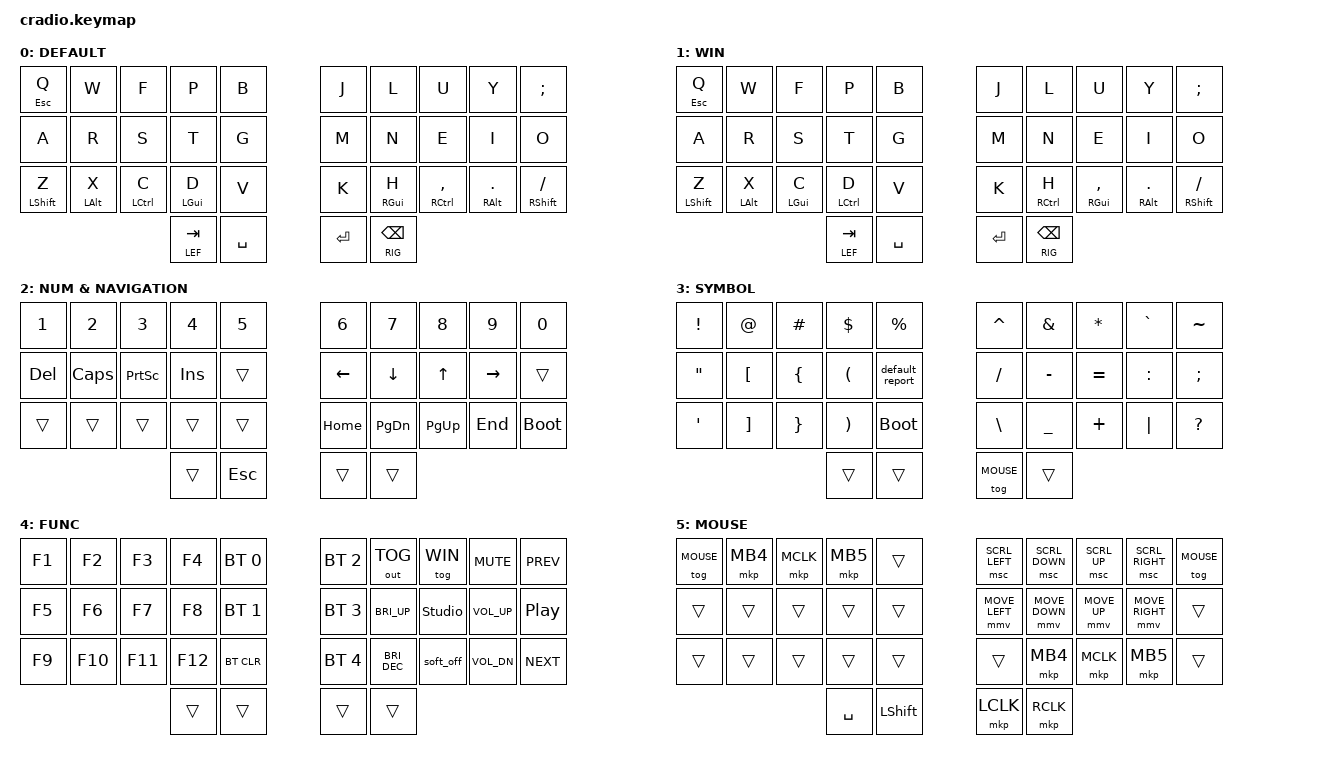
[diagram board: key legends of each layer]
// Copyright (c) 2022 The ZMK Contributors
// SPDX-License-Identifier: MIT

#define ZMK_POINTING_DEFAULT_MOVE_VAL 2500  // 600
#define ZMK_POINTING_DEFAULT_SCRL_VAL 20    // 10

#include <behaviors.dtsi>
#include "behaviors/character_map.dtsi"
#include "behaviors/send_string.dtsi"
#include "behaviors/report.dtsi"
#include <dt-bindings/zmk/bt.h>
#include <dt-bindings/zmk/keys.h>
#include <dt-bindings/zmk/outputs.h>
#include <dt-bindings/zmk/pointing.h>

#define MAC 0
#define WIN 1
#define RIG 2
#define LEF 3
#define TRI 4
#define MOUSE 5


// https://zmk.dev/docs/development/hardware-integration/soft-off-setup?advanced-methods=wakeup&kscan-type=dkscan
/ {
    keys {
        compatible = "gpio-keys";
        soft_off_gpio_key: soft_off_gpio_key {
            gpios = <&gpio1 6 (GPIO_ACTIVE_LOW | GPIO_PULL_UP)>;
        };
    };
    wakeup_scan: wakeup_scan {
        compatible = "zmk,kscan-gpio-direct";
        input-keys = <&soft_off_gpio_key>;
        wakeup-source;
    };
    side_band_behavior_triggers: side_band_behavior_triggers {
        compatible = "zmk,kscan-sideband-behaviors";
        kscan = <&wakeup_scan>;
        auto-enable;
        wakeup-source;
    };
    soft_off_wakers {
        compatible = "zmk,soft-off-wakeup-sources";
        wakeup-sources = <&wakeup_scan>;
    };
};

/ {
    vbatt: vbatt {
        compatible = "zmk,battery-nrf-vddh";
    };
    chosen {
        zmk,charmap = &charmap_us;
        zmk,battery = &vbatt;
    };
    behaviors {
        hml: hold_tap_left {
            display-name = "timeless_hml";
            compatible = "zmk,behavior-hold-tap";
            #binding-cells = <2>;
            flavor = "balanced";
            require-prior-idle-ms = <150>;
            tapping-term-ms = <280>;
            quick-tap-ms = <175>;
            bindings = <&kp>, <&kp>;
            hold-trigger-key-positions = <
                5 6 7 8 9
                15 16 17 18 19
                25 26 27 28 29
                30 31 32 33
            >;
            hold-trigger-on-release;
        };
        hmr: hold_tap_right {
            display-name = "timeless_hmr";
            compatible = "zmk,behavior-hold-tap";
            #binding-cells = <2>;
            flavor = "balanced";
            require-prior-idle-ms = <150>;
            tapping-term-ms = <280>;
            quick-tap-ms = <175>;
            bindings = <&kp>, <&kp>;
            hold-trigger-key-positions = <
                0 1 2 3 4
                10 11 12 13 14
                20 21 22 23 24
                30 31 32 33
            >;
            hold-trigger-on-release;
        };
        mmv {
            acceleration-exponent = <1>;      // 1
            time-to-max-speed-ms = <300>;    // 40
            delay-ms = <0>;                   // 0
        };
        msc {
            acceleration-exponent = <0>;      // 0
            time-to-max-speed-ms = <40>;      // 500
            delay-ms = <0>;                   // 10
        };
    };

    conditional_layers {
        compatible = "zmk,conditional-layers";

        tri_layer {
            if-layers = <RIG LEF>;
            then-layer = <TRI>;
        };
    };

    keymap {
        compatible = "zmk,keymap";

        default_layer {
            display-name = "DEFAULT";
            bindings = <
            &hml ESC Q     &kp W          &kp F          &kp P          &kp B         &kp J      &kp L           &kp U           &kp Y         &kp SEMI
            &kp A          &kp R          &kp S          &kp T          &kp G         &kp M      &kp N           &kp E           &kp I         &kp O
            &hml LSHIFT Z  &hml LALT X    &hml LCTRL C   &hml LGUI D    &kp V         &kp K      &hmr RGUI H     &hmr RCTRL COMMA &hmr RALT DOT &hmr RSHIFT FSLH
            &lt LEF TAB     &kp SPACE      &kp ENTER      &lt RIG BSPC
            >;
        };

        windows_layer {
            display-name = "WIN";
            bindings = <
            &hml ESC Q     &kp W         &kp F         &kp P          &kp B         &kp J      &kp L          &kp U          &kp Y         &kp SEMI
            &kp A          &kp R         &kp S         &kp T          &kp G         &kp M      &kp N          &kp E          &kp I         &kp O
            &hml LSHIFT Z  &hml LALT X   &hml LGUI C   &hml LCTRL D   &kp V         &kp K      &hmr RCTRL H   &hmr RGUI COMMA &hmr RALT DOT &hmr RSHIFT FSLH
            &lt LEF TAB     &kp SPACE     &kp ENTER     &lt RIG BSPC
            >;
        };

        right_layer {
            display-name = "NUM & NAVIGATION";
            bindings = <
            &kp N1   &kp N2    &kp N3     &kp N4   &kp N5     &kp N6  &kp N7    &kp N8     &kp N9     &kp N0
            &kp DEL  &kp CAPS  &kp PSCRN  &kp INS  &trans     &kp LEFT  &kp DOWN   &kp UP  &kp RIGHT &trans
            &trans   &trans    &trans     &trans   &trans     &kp HOME  &kp PG_DN  &kp PG_UP  &kp END &bootloader
            &trans   &kp ESC    &trans  &trans
            >;
        };

        left_layer {
            display-name = "SYMBOL";
            bindings = <
            &kp EXCL  &kp AT    &kp HASH  &kp DLLR  &kp PRCNT    &kp CARET  &kp AMPS   &kp ASTRK  &kp GRAVE  &kp TILDE
            &kp DQT   &kp LBKT  &kp LBRC  &kp LPAR  &default_report       &kp FSLH   &kp MINUS  &kp EQUAL  &kp COLON  &kp SEMI
            &kp SQT   &kp RBKT  &kp RBRC  &kp RPAR  &bootloader       &kp BSLH   &kp UNDER  &kp PLUS   &kp PIPE   &kp QMARK
            &trans    &trans       &tog MOUSE     &trans
            >;
        };

        tri_layer {
            display-name = "FUNC";
            bindings = <
            &kp F1  &kp F2   &kp F3   &kp F4   &bt BT_SEL 0    &bt BT_SEL 2  &out OUT_TOG   &tog WIN  &kp C_MUTE    &kp C_PREV
            &kp F5  &kp F6   &kp F7   &kp F8   &bt BT_SEL 1    &bt BT_SEL 3  &kp C_BRI_UP   &studio_unlock    &kp C_VOL_UP  &kp C_PP
            &kp F9  &kp F10  &kp F11  &kp F12  &bt BT_CLR      &bt BT_SEL 4  &kp C_BRI_DEC  &soft_off    &kp C_VOL_DN  &kp C_NEXT
            &trans   &trans          &trans        &trans
            >;
        };
        mouse {
            display-name = "MOUSE";
            bindings = <
            &tog MOUSE  &mkp MB4  &mkp MCLK  &mkp MB5   &trans      &msc SCRL_LEFT     &msc SCRL_DOWN    &msc SCRL_UP     &msc SCRL_RIGHT    &tog MOUSE
            &trans      &trans    &trans     &trans     &trans      &mmv MOVE_LEFT     &mmv MOVE_DOWN    &mmv MOVE_UP     &mmv MOVE_RIGHT    &trans
            &trans      &trans    &trans     &trans     &trans      &trans     &mkp MB4  &mkp MCLK  &mkp MB5  &trans
            &kp SPACE  &kp LSHIFT  &mkp LCLK  &mkp RCLK
            >;
        };
    };

    zip_joystick_arrows: zip_joystick_arrows {
        compatible = "zmk,input-processor-keybind";
        #input-processor-cells = <0>;
        bindings = <&kp RIGHT>,
                  <&kp LEFT>,
                  <&kp DOWN>,
                  <&kp UP>;
        mode = <1>;
        continuous_key_press;
        tick = <12>;
        threshold = <2>;
        tap-ms = <5>;
    };

    joystick_listener {
        compatible = "zmk,input-listener";
        device = <&joystick_anin>;
        input-processors = <&zip_joystick_arrows>;
    };
};
